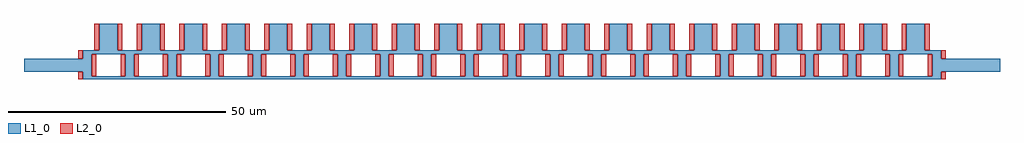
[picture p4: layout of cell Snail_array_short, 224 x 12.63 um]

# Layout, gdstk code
import gdstk
lib = gdstk.Library(unit=1e-6, precision=1e-09)
def R(c, l, rs):  # rectangles x0, y0, x1, y1
    for r in rs: c.add(gdstk.rectangle(r[:2], r[2:], *l))
def A(c, l, x, y, w, h, nx, ny, dx, dy):  # array of equal rectangles
    R(c, l, [(x+i*dx, y+j*dy, x+i*dx+w, y+j*dy+h) for i in range(nx) for j in range(ny)])
def P(c, l, *ps):  # polygons
    for p in ps: c.add(gdstk.Polygon(p, *l))
L1_0 = (1, 0)
L2_0 = (2, 0)

snail_array_short = lib.new_cell('Snail_array_short')
A(snail_array_short, L1_0, -93.725, 2.5, 2.2, 7, 20, 1, 9.75, 0)
R(snail_array_short, L1_0, [(-112,-1.5,-98.5,1.5), (98.5,-1.5,112,1.5)])
P(snail_array_short, L1_0, [(-98.5,-3.13),(-98.5,3.5),(-94.725,3.5),(-94.725,9.5),(-93.725,9.5),(-93.725,2.5),(-96.5,2.5),(-96.5,-2.5),(-92.625,-2.5),(-92.625,-3.13),(-93.625,-3.13),(-93.625,-3.13)],
  [(-87.75,-3.13),(-87.75,3.5),(-90.525,3.5),(-90.525,9.5),(-91.525,9.5),(-91.525,2.5),(-88.75,2.5),(-88.75,-2.5),(-92.625,-2.5),(-92.625,-3.13),(-91.625,-3.13),(-91.625,-3.13)],
  [(-87.75,-3.13),(-87.75,3.5),(-84.975,3.5),(-84.975,9.5),(-83.975,9.5),(-83.975,2.5),(-86.75,2.5),(-86.75,-2.5),(-82.875,-2.5),(-82.875,-3.13),(-83.875,-3.13),(-83.875,-3.13)],
  [(-78,-3.13),(-78,3.5),(-80.775,3.5),(-80.775,9.5),(-81.775,9.5),(-81.775,2.5),(-79,2.5),(-79,-2.5),(-82.875,-2.5),(-82.875,-3.13),(-81.875,-3.13),(-81.875,-3.13)],
  [(-78,-3.13),(-78,3.5),(-75.225,3.5),(-75.225,9.5),(-74.225,9.5),(-74.225,2.5),(-77,2.5),(-77,-2.5),(-73.125,-2.5),(-73.125,-3.13),(-74.125,-3.13),(-74.125,-3.13)],
  [(-68.25,-3.13),(-68.25,3.5),(-71.025,3.5),(-71.025,9.5),(-72.025,9.5),(-72.025,2.5),(-69.25,2.5),(-69.25,-2.5),(-73.125,-2.5),(-73.125,-3.13),(-72.125,-3.13),(-72.125,-3.13)],
  [(-68.25,-3.13),(-68.25,3.5),(-65.475,3.5),(-65.475,9.5),(-64.475,9.5),(-64.475,2.5),(-67.25,2.5),(-67.25,-2.5),(-63.375,-2.5),(-63.375,-3.13),(-64.375,-3.13),(-64.375,-3.13)],
  [(-58.5,-3.13),(-58.5,3.5),(-61.275,3.5),(-61.275,9.5),(-62.275,9.5),(-62.275,2.5),(-59.5,2.5),(-59.5,-2.5),(-63.375,-2.5),(-63.375,-3.13),(-62.375,-3.13),(-62.375,-3.13)],
  [(-58.5,-3.13),(-58.5,3.5),(-55.725,3.5),(-55.725,9.5),(-54.725,9.5),(-54.725,2.5),(-57.5,2.5),(-57.5,-2.5),(-53.625,-2.5),(-53.625,-3.13),(-54.625,-3.13),(-54.625,-3.13)],
  [(-48.75,-3.13),(-48.75,3.5),(-51.525,3.5),(-51.525,9.5),(-52.525,9.5),(-52.525,2.5),(-49.75,2.5),(-49.75,-2.5),(-53.625,-2.5),(-53.625,-3.13),(-52.625,-3.13),(-52.625,-3.13)],
  [(-48.75,-3.13),(-48.75,3.5),(-45.975,3.5),(-45.975,9.5),(-44.975,9.5),(-44.975,2.5),(-47.75,2.5),(-47.75,-2.5),(-43.875,-2.5),(-43.875,-3.13),(-44.875,-3.13),(-44.875,-3.13)],
  [(-39,-3.13),(-39,3.5),(-41.775,3.5),(-41.775,9.5),(-42.775,9.5),(-42.775,2.5),(-40,2.5),(-40,-2.5),(-43.875,-2.5),(-43.875,-3.13),(-42.875,-3.13),(-42.875,-3.13)],
  [(-39,-3.13),(-39,3.5),(-36.225,3.5),(-36.225,9.5),(-35.225,9.5),(-35.225,2.5),(-38,2.5),(-38,-2.5),(-34.125,-2.5),(-34.125,-3.13),(-35.125,-3.13),(-35.125,-3.13)],
  [(-29.25,-3.13),(-29.25,3.5),(-32.025,3.5),(-32.025,9.5),(-33.025,9.5),(-33.025,2.5),(-30.25,2.5),(-30.25,-2.5),(-34.125,-2.5),(-34.125,-3.13),(-33.125,-3.13),(-33.125,-3.13)],
  [(-29.25,-3.13),(-29.25,3.5),(-26.475,3.5),(-26.475,9.5),(-25.475,9.5),(-25.475,2.5),(-28.25,2.5),(-28.25,-2.5),(-24.375,-2.5),(-24.375,-3.13),(-25.375,-3.13),(-25.375,-3.13)],
  [(-19.5,-3.13),(-19.5,3.5),(-22.275,3.5),(-22.275,9.5),(-23.275,9.5),(-23.275,2.5),(-20.5,2.5),(-20.5,-2.5),(-24.375,-2.5),(-24.375,-3.13),(-23.375,-3.13),(-23.375,-3.13)],
  [(-19.5,-3.13),(-19.5,3.5),(-16.725,3.5),(-16.725,9.5),(-15.725,9.5),(-15.725,2.5),(-18.5,2.5),(-18.5,-2.5),(-14.625,-2.5),(-14.625,-3.13),(-15.625,-3.13),(-15.625,-3.13)],
  [(-9.75,-3.13),(-9.75,3.5),(-12.525,3.5),(-12.525,9.5),(-13.525,9.5),(-13.525,2.5),(-10.75,2.5),(-10.75,-2.5),(-14.625,-2.5),(-14.625,-3.13),(-13.625,-3.13),(-13.625,-3.13)],
  [(-9.75,-3.13),(-9.75,3.5),(-6.975,3.5),(-6.975,9.5),(-5.975,9.5),(-5.975,2.5),(-8.75,2.5),(-8.75,-2.5),(-4.875,-2.5),(-4.875,-3.13),(-5.875,-3.13),(-5.875,-3.13)],
  [(0,-3.13),(0,3.5),(-2.775,3.5),(-2.775,9.5),(-3.775,9.5),(-3.775,2.5),(-1,2.5),(-1,-2.5),(-4.875,-2.5),(-4.875,-3.13),(-3.875,-3.13),(-3.875,-3.13)],
  [(0,-3.13),(0,3.5),(2.775,3.5),(2.775,9.5),(3.775,9.5),(3.775,2.5),(1,2.5),(1,-2.5),(4.875,-2.5),(4.875,-3.13),(3.875,-3.13),(3.875,-3.13)],
  [(9.75,-3.13),(9.75,3.5),(6.975,3.5),(6.975,9.5),(5.975,9.5),(5.975,2.5),(8.75,2.5),(8.75,-2.5),(4.875,-2.5),(4.875,-3.13),(5.875,-3.13),(5.875,-3.13)],
  [(9.75,-3.13),(9.75,3.5),(12.525,3.5),(12.525,9.5),(13.525,9.5),(13.525,2.5),(10.75,2.5),(10.75,-2.5),(14.625,-2.5),(14.625,-3.13),(13.625,-3.13),(13.625,-3.13)],
  [(19.5,-3.13),(19.5,3.5),(16.725,3.5),(16.725,9.5),(15.725,9.5),(15.725,2.5),(18.5,2.5),(18.5,-2.5),(14.625,-2.5),(14.625,-3.13),(15.625,-3.13),(15.625,-3.13)],
  [(19.5,-3.13),(19.5,3.5),(22.275,3.5),(22.275,9.5),(23.275,9.5),(23.275,2.5),(20.5,2.5),(20.5,-2.5),(24.375,-2.5),(24.375,-3.13),(23.375,-3.13),(23.375,-3.13)],
  [(29.25,-3.13),(29.25,3.5),(26.475,3.5),(26.475,9.5),(25.475,9.5),(25.475,2.5),(28.25,2.5),(28.25,-2.5),(24.375,-2.5),(24.375,-3.13),(25.375,-3.13),(25.375,-3.13)],
  [(29.25,-3.13),(29.25,3.5),(32.025,3.5),(32.025,9.5),(33.025,9.5),(33.025,2.5),(30.25,2.5),(30.25,-2.5),(34.125,-2.5),(34.125,-3.13),(33.125,-3.13),(33.125,-3.13)],
  [(39,-3.13),(39,3.5),(36.225,3.5),(36.225,9.5),(35.225,9.5),(35.225,2.5),(38,2.5),(38,-2.5),(34.125,-2.5),(34.125,-3.13),(35.125,-3.13),(35.125,-3.13)],
  [(39,-3.13),(39,3.5),(41.775,3.5),(41.775,9.5),(42.775,9.5),(42.775,2.5),(40,2.5),(40,-2.5),(43.875,-2.5),(43.875,-3.13),(42.875,-3.13),(42.875,-3.13)],
  [(48.75,-3.13),(48.75,3.5),(45.975,3.5),(45.975,9.5),(44.975,9.5),(44.975,2.5),(47.75,2.5),(47.75,-2.5),(43.875,-2.5),(43.875,-3.13),(44.875,-3.13),(44.875,-3.13)],
  [(48.75,-3.13),(48.75,3.5),(51.525,3.5),(51.525,9.5),(52.525,9.5),(52.525,2.5),(49.75,2.5),(49.75,-2.5),(53.625,-2.5),(53.625,-3.13),(52.625,-3.13),(52.625,-3.13)],
  [(58.5,-3.13),(58.5,3.5),(55.725,3.5),(55.725,9.5),(54.725,9.5),(54.725,2.5),(57.5,2.5),(57.5,-2.5),(53.625,-2.5),(53.625,-3.13),(54.625,-3.13),(54.625,-3.13)],
  [(58.5,-3.13),(58.5,3.5),(61.275,3.5),(61.275,9.5),(62.275,9.5),(62.275,2.5),(59.5,2.5),(59.5,-2.5),(63.375,-2.5),(63.375,-3.13),(62.375,-3.13),(62.375,-3.13)],
  [(68.25,-3.13),(68.25,3.5),(65.475,3.5),(65.475,9.5),(64.475,9.5),(64.475,2.5),(67.25,2.5),(67.25,-2.5),(63.375,-2.5),(63.375,-3.13),(64.375,-3.13),(64.375,-3.13)],
  [(68.25,-3.13),(68.25,3.5),(71.025,3.5),(71.025,9.5),(72.025,9.5),(72.025,2.5),(69.25,2.5),(69.25,-2.5),(73.125,-2.5),(73.125,-3.13),(72.125,-3.13),(72.125,-3.13)],
  [(78,-3.13),(78,3.5),(75.225,3.5),(75.225,9.5),(74.225,9.5),(74.225,2.5),(77,2.5),(77,-2.5),(73.125,-2.5),(73.125,-3.13),(74.125,-3.13),(74.125,-3.13)],
  [(78,-3.13),(78,3.5),(80.775,3.5),(80.775,9.5),(81.775,9.5),(81.775,2.5),(79,2.5),(79,-2.5),(82.875,-2.5),(82.875,-3.13),(81.875,-3.13),(81.875,-3.13)],
  [(87.75,-3.13),(87.75,3.5),(84.975,3.5),(84.975,9.5),(83.975,9.5),(83.975,2.5),(86.75,2.5),(86.75,-2.5),(82.875,-2.5),(82.875,-3.13),(83.875,-3.13),(83.875,-3.13)],
  [(87.75,-3.13),(87.75,3.5),(90.525,3.5),(90.525,9.5),(91.525,9.5),(91.525,2.5),(88.75,2.5),(88.75,-2.5),(92.625,-2.5),(92.625,-3.13),(91.625,-3.13),(91.625,-3.13)],
  [(98.5,-3.13),(98.5,3.5),(94.725,3.5),(94.725,9.5),(93.725,9.5),(93.725,2.5),(96.5,2.5),(96.5,-2.5),(92.625,-2.5),(92.625,-3.13),(93.625,-3.13),(93.625,-3.13)])
R(snail_array_short, L2_0, [(-99.6,-3.13,-98.5,-1.5), (98.5,-3.13,99.6,-1.5), (-96.5,-2.5,-95.4,2.5), (-89.85,-2.5,-88.75,2.5), (-86.75,-2.5,-85.65,2.5), (-80.1,-2.5,-79,2.5), (-77,-2.5,-75.9,2.5), (-70.35,-2.5,-69.25,2.5), (-67.25,-2.5,-66.15,2.5), (-60.6,-2.5,-59.5,2.5), (-57.5,-2.5,-56.4,2.5), (-50.85,-2.5,-49.75,2.5), (-47.75,-2.5,-46.65,2.5), (-41.1,-2.5,-40,2.5), (-38,-2.5,-36.9,2.5), (-31.35,-2.5,-30.25,2.5), (-28.25,-2.5,-27.15,2.5), (-21.6,-2.5,-20.5,2.5), (-18.5,-2.5,-17.4,2.5), (-11.85,-2.5,-10.75,2.5), (-8.75,-2.5,-7.65,2.5), (-2.1,-2.5,-1,2.5), (1,-2.5,2.1,2.5), (7.65,-2.5,8.75,2.5), (10.75,-2.5,11.85,2.5), (17.4,-2.5,18.5,2.5), (20.5,-2.5,21.6,2.5), (27.15,-2.5,28.25,2.5), (30.25,-2.5,31.35,2.5), (36.9,-2.5,38,2.5), (40,-2.5,41.1,2.5), (46.65,-2.5,47.75,2.5), (49.75,-2.5,50.85,2.5), (56.4,-2.5,57.5,2.5), (59.5,-2.5,60.6,2.5), (66.15,-2.5,67.25,2.5), (69.25,-2.5,70.35,2.5), (75.9,-2.5,77,2.5), (79,-2.5,80.1,2.5), (85.65,-2.5,86.75,2.5), (88.75,-2.5,89.85,2.5), (95.4,-2.5,96.5,2.5), (-99.6,1.5,-98.5,3.5), (98.5,1.5,99.6,3.5), (-95.825,3.5,-94.725,9.5), (-90.525,3.5,-89.425,9.5), (-86.075,3.5,-84.975,9.5), (-80.775,3.5,-79.675,9.5), (-76.325,3.5,-75.225,9.5), (-71.025,3.5,-69.925,9.5), (-66.575,3.5,-65.475,9.5), (-61.275,3.5,-60.175,9.5), (-56.825,3.5,-55.725,9.5), (-51.525,3.5,-50.425,9.5), (-47.075,3.5,-45.975,9.5), (-41.775,3.5,-40.675,9.5), (-37.325,3.5,-36.225,9.5), (-32.025,3.5,-30.925,9.5), (-27.575,3.5,-26.475,9.5), (-22.275,3.5,-21.175,9.5), (-17.825,3.5,-16.725,9.5), (-12.525,3.5,-11.425,9.5), (-8.075,3.5,-6.975,9.5), (-2.775,3.5,-1.675,9.5), (1.675,3.5,2.775,9.5), (6.975,3.5,8.075,9.5), (11.425,3.5,12.525,9.5), (16.725,3.5,17.825,9.5), (21.175,3.5,22.275,9.5), (26.475,3.5,27.575,9.5), (30.925,3.5,32.025,9.5), (36.225,3.5,37.325,9.5), (40.675,3.5,41.775,9.5), (45.975,3.5,47.075,9.5), (50.425,3.5,51.525,9.5), (55.725,3.5,56.825,9.5), (60.175,3.5,61.275,9.5), (65.475,3.5,66.575,9.5), (69.925,3.5,71.025,9.5), (75.225,3.5,76.325,9.5), (79.675,3.5,80.775,9.5), (84.975,3.5,86.075,9.5), (89.425,3.5,90.525,9.5), (94.725,3.5,95.825,9.5)])

lib.write_gds('Snail_array_short.gds')
